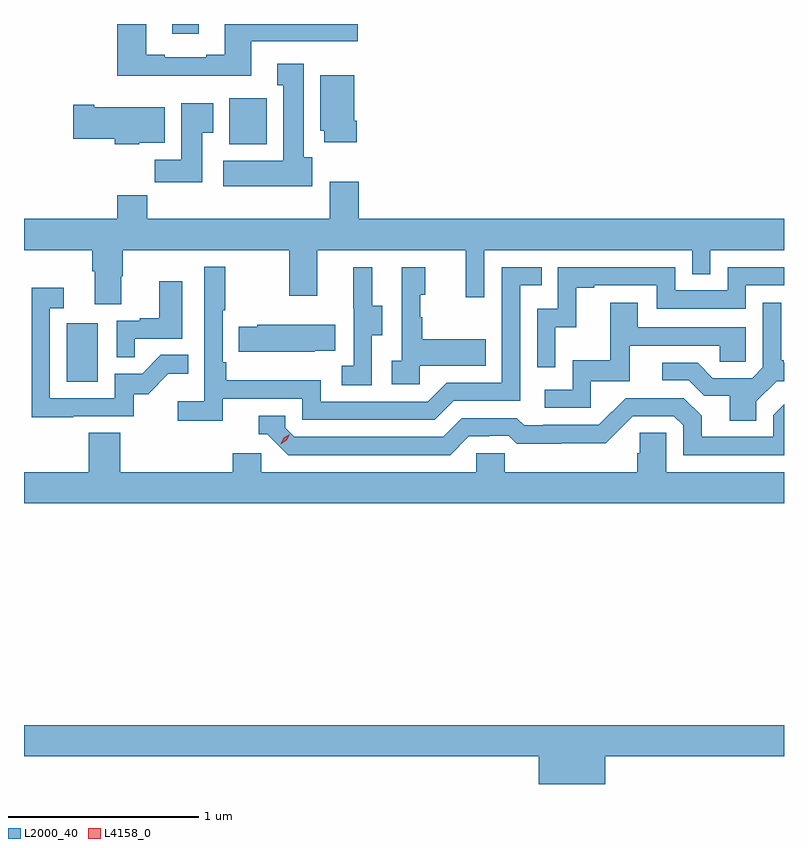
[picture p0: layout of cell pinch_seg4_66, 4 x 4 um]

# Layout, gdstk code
import gdstk
lib = gdstk.Library(unit=1e-6, precision=1e-09)
def R(c, l, rs):  # rectangles x0, y0, x1, y1
    for r in rs: c.add(gdstk.rectangle(r[:2], r[2:], *l))
def P(c, l, *ps):  # polygons
    for p in ps: c.add(gdstk.Polygon(p, *l))
L2000_40 = (2000, 40)
L4158_0 = (4158, 0)

pinch_seg4_66 = lib.new_cell('pinch_seg4_66')
R(pinch_seg4_66, L2000_40, [(1040.888,816.108,1041.052,816.415), (1041.743,817.358,1041.94,817.6), (1041.443,817.938,1041.583,817.99)])
P(pinch_seg4_66, L2000_40, [(1041.859,817.899),(1042.42,817.899),(1042.42,817.99),(1041.719,817.99),(1041.719,817.828),(1041.623,817.828),(1041.623,817.815),(1041.403,817.815),(1041.403,817.828),(1041.307,817.828),(1041.307,817.99),(1041.155,817.99),(1041.155,817.718),(1041.859,817.718)],
  [(1042.18,817.29),(1042.135,817.29),(1042.135,817.78),(1041.995,817.78),(1041.995,817.667),(1042.028,817.667),(1042.028,817.27),(1041.711,817.27),(1041.711,817.136),(1042.18,817.136)],
  [(1042.415,817.48),(1042.402,817.48),(1042.402,817.72),(1042.223,817.72),(1042.223,817.428),(1042.244,817.428),(1042.244,817.368),(1042.415,817.368)],
  [(1041.601,817.417),(1041.658,817.417),(1041.658,817.573),(1041.491,817.573),(1041.491,817.276),(1041.352,817.276),(1041.352,817.158),(1041.601,817.158)],
  [(1041.27,817.364),(1041.403,817.364),(1041.403,817.552),(1041.034,817.552),(1041.034,817.565),(1040.922,817.565),(1040.922,817.387),(1041.14,817.387),(1041.14,817.358),(1041.27,817.358)],
  [(1041.175,816.663),(1041.183,816.663),(1041.183,816.8),(1042.06,816.8),(1042.06,816.561),(1042.207,816.561),(1042.207,816.8),(1042.988,816.8),(1042.988,816.552),(1043.085,816.552),(1043.085,816.8),(1044.18,816.8),(1044.18,816.673),(1044.276,816.673),(1044.276,816.8),(1044.663,816.8),(1044.663,816.964),(1042.424,816.964),(1042.424,817.159),(1042.271,817.159),(1042.271,816.964),(1041.311,816.964),(1041.311,817.088),(1041.155,817.088),(1041.155,816.964),(1040.663,816.964),(1040.663,816.8),(1041.023,816.8),(1041.023,816.688),(1041.035,816.688),(1041.035,816.514),(1041.175,816.514)],
  [(1041.71,816.018),(1042.128,816.018),(1042.128,815.907),(1042.825,815.907),(1042.924,816.006),(1043.274,816.006),(1043.274,816.615),(1043.387,816.615),(1043.387,816.711),(1043.178,816.711),(1043.178,816.102),(1042.887,816.102),(1042.788,816.003),(1042.224,816.003),(1042.224,816.115),(1041.728,816.115),(1041.728,816.211),(1041.708,816.211),(1041.708,816.484),(1041.721,816.484),(1041.721,816.712),(1041.612,816.712),(1041.612,816.004),(1041.471,816.004),(1041.471,815.902),(1041.71,815.902)],
  [(1043.46,816.395),(1043.57,816.395),(1043.57,816.603),(1043.665,816.603),(1043.665,816.615),(1043.994,816.615),(1043.994,816.492),(1044.462,816.492),(1044.462,816.615),(1044.663,816.615),(1044.663,816.711),(1044.366,816.711),(1044.366,816.588),(1044.09,816.588),(1044.09,816.711),(1043.472,816.711),(1043.472,816.492),(1043.364,816.492),(1043.364,816.183),(1043.46,816.183)],
  [(1042.494,816.352),(1042.549,816.352),(1042.549,816.507),(1042.495,816.507),(1042.495,816.709),(1042.397,816.709),(1042.397,816.495),(1042.398,816.495),(1042.398,816.191),(1042.335,816.191),(1042.335,816.088),(1042.494,816.088)],
  [(1042.746,816.191),(1043.093,816.191),(1043.093,816.331),(1042.759,816.331),(1042.759,816.446),(1042.749,816.446),(1042.749,816.564),(1042.774,816.564),(1042.774,816.709),(1042.65,816.709),(1042.65,816.218),(1042.599,816.218),(1042.599,816.093),(1042.746,816.093)],
  [(1041.245,816.333),(1041.496,816.333),(1041.496,816.637),(1041.374,816.637),(1041.374,816.442),(1041.271,816.442),(1041.271,816.429),(1041.15,816.429),(1041.15,816.235),(1041.245,816.235)],
  [(1040.921,815.925),(1041.24,815.925),(1041.24,816.042),(1041.316,816.042),(1041.423,816.149),(1041.527,816.149),(1041.527,816.248),(1041.384,816.248),(1041.286,816.15),(1041.141,816.15),(1041.141,816.021),(1040.799,816.021),(1040.799,816.495),(1040.872,816.495),(1040.872,816.601),(1040.703,816.601),(1040.703,815.92),(1040.921,815.92)],
  [(1044.517,816.004),(1044.624,816.111),(1044.663,816.111),(1044.663,816.208),(1044.661,816.208),(1044.661,816.22),(1044.649,816.22),(1044.649,816.523),(1044.552,816.523),(1044.552,816.183),(1044.495,816.126),(1044.289,816.126),(1044.208,816.207),(1044.021,816.207),(1044.021,816.114),(1044.162,816.114),(1044.242,816.034),(1044.377,816.034),(1044.377,815.902),(1044.517,815.902)],
  [(1043.646,816.111),(1043.851,816.111),(1043.851,816.297),(1044.325,816.297),(1044.325,816.213),(1044.462,816.213),(1044.462,816.393),(1043.893,816.393),(1043.893,816.523),(1043.749,816.523),(1043.749,816.22),(1043.55,816.22),(1043.55,816.066),(1043.403,816.066),(1043.403,815.97),(1043.646,815.97)],
  [(1042.193,816.269),(1042.301,816.269),(1042.301,816.406),(1041.891,816.406),(1041.891,816.396),(1041.793,816.396),(1041.793,816.266),(1042.193,816.266)],
  [(1043.005,815.82),(1043.112,815.82),(1043.112,815.823),(1043.215,815.823),(1043.257,815.781),(1043.49,815.781),(1043.49,815.783),(1043.726,815.783),(1043.868,815.925),(1044.084,815.925),(1044.132,815.877),(1044.132,815.721),(1044.663,815.721),(1044.663,815.988),(1044.606,815.931),(1044.606,815.817),(1044.229,815.817),(1044.229,815.927),(1044.135,816.021),(1043.829,816.021),(1043.688,815.88),(1043.395,815.88),(1043.395,815.877),(1043.296,815.877),(1043.257,815.916),(1042.968,815.916),(1042.869,815.817),(1042.086,815.817),(1042.038,815.865),(1042.038,815.928),(1041.899,815.928),(1041.899,815.832),(1041.942,815.832),(1042.053,815.721),(1042.906,815.721)],
  [(1044.663,815.632),(1044.042,815.632),(1044.042,815.84),(1043.905,815.84),(1043.905,815.73),(1043.891,815.73),(1043.891,815.632),(1043.193,815.632),(1043.193,815.73),(1043.043,815.73),(1043.043,815.632),(1041.912,815.632),(1041.912,815.73),(1041.761,815.73),(1041.761,815.632),(1041.17,815.632),(1041.17,815.84),(1041.005,815.84),(1041.005,815.632),(1040.663,815.632),(1040.663,815.468),(1044.663,815.468)],
  [(1043.722,814.136),(1044.663,814.136),(1044.663,814.3),(1040.663,814.3),(1040.663,814.136),(1043.372,814.136),(1043.372,813.99),(1043.722,813.99)])
P(pinch_seg4_66, L4158_0, [(1042.015,815.779),(1042.015,815.779),(1042.031,815.812),(1042.062,815.831),(1042.062,815.831),(1042.062,815.83),(1042.046,815.798),(1042.015,815.779)])

lib.write_gds('pinch_seg4_66.gds')
